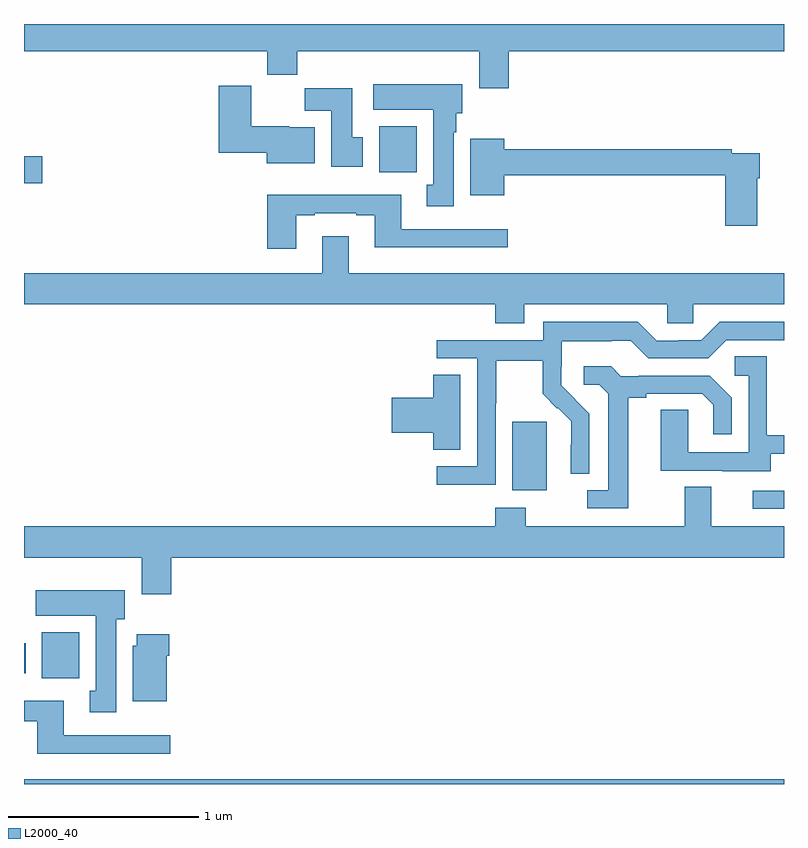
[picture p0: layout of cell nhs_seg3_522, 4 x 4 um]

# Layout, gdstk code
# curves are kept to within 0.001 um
import gdstk
lib = gdstk.Library(unit=1e-6, precision=1e-09)
def R(c, l, rs):  # rectangles x0, y0, x1, y1
    for r in rs: c.add(gdstk.rectangle(r[:2], r[2:], *l))
def P(c, l, *ps):  # polygons
    for p in ps: c.add(gdstk.Polygon(p, *l))
L2000_40 = (2000, 40)

nhs_seg3_522 = lib.new_cell('nhs_seg3_522')
R(nhs_seg3_522, L2000_40, [(137,690.4,141,690.424), (137.093,690.956,137.29,691.198), (137,690.984,137.008,691.14), (140.835,691.848,141,691.944), (139.571,691.946,139.75,692.307), (137,693.562,137.095,693.704), (138.869,693.62,139.066,693.862)])
P(nhs_seg3_522, L2000_40, [(139.55,694.256),(141,694.256),(141,694.4),(137,694.4),(137,694.256),(138.281,694.256),(138.281,694.132),(138.437,694.132),(138.437,694.256),(139.397,694.256),(139.397,694.062),(139.55,694.062)],
  [(139.261,693.83),(139.276,693.83),(139.276,693.93),(139.306,693.93),(139.306,694.084),(138.837,694.084),(138.837,693.95),(139.154,693.95),(139.154,693.554),(139.121,693.554),(139.121,693.441),(139.261,693.441)],
  [(138.529,693.856),(138.396,693.856),(138.396,693.862),(138.196,693.862),(138.196,694.075),(138.026,694.075),(138.026,693.722),(138.278,693.722),(138.278,693.668),(138.529,693.668)],
  [(138.784,693.804),(138.727,693.804),(138.727,694.063),(138.478,694.063),(138.478,693.944),(138.617,693.944),(138.617,693.648),(138.784,693.648)],
  [(140.86,693.587),(140.873,693.587),(140.873,693.72),(140.726,693.72),(140.726,693.74),(139.528,693.74),(139.528,693.796),(139.349,693.796),(139.349,693.5),(139.528,693.5),(139.528,693.604),(140.69,693.604),(140.69,693.339),(140.86,693.339)],
  [(138.433,693.393),(138.529,693.393),(138.529,693.405),(138.749,693.405),(138.749,693.393),(138.845,693.393),(138.845,693.224),(139.546,693.224),(139.546,693.321),(138.985,693.321),(138.985,693.502),(138.281,693.502),(138.281,693.216),(138.433,693.216)],
  [(139.633,692.924),(140.385,692.924),(140.385,692.826),(140.523,692.826),(140.523,692.924),(141,692.924),(141,693.088),(138.709,693.088),(138.709,693.283),(138.569,693.283),(138.569,693.088),(137,693.088),(137,692.924),(139.481,692.924),(139.481,692.825),(139.633,692.825)],
  [(139.482,692.404),(139.485,692.404),(139.485,692.628),(139.729,692.628),(139.729,692.453),(139.806,692.376),(139.809,692.379),(139.88,692.309),(139.88,692.186),(139.878,692.186),(139.878,692.032),(139.974,692.032),(139.974,692.35),(139.828,692.498),(139.828,692.595),(139.83,692.595),(139.83,692.729),(140.093,692.729),(140.093,692.733),(140.193,692.733),(140.286,692.64),(140.601,692.64),(140.697,692.736),(141,692.736),(141,692.832),(140.661,692.832),(140.565,692.736),(140.447,692.736),(140.447,692.733),(140.331,692.733),(140.231,692.833),(139.734,692.833),(139.734,692.736),(139.173,692.736),(139.173,692.64),(139.386,692.64),(139.386,692.073),(139.173,692.073),(139.173,691.975),(139.482,691.975)],
  [(140.929,692.139),(141,692.139),(141,692.235),(140.91,692.235),(140.91,692.651),(140.742,692.651),(140.742,692.55),(140.814,692.55),(140.814,692.145),(140.496,692.145),(140.496,692.369),(140.351,692.369),(140.351,692.049),(140.675,692.049),(140.675,692.045),(140.929,692.045)],
  [(140.179,692.432),(140.275,692.432),(140.275,692.454),(140.57,692.454),(140.627,692.397),(140.627,692.241),(140.724,692.241),(140.724,692.434),(140.608,692.55),(140.236,692.55),(140.236,692.547),(140.142,692.547),(140.09,692.599),(139.947,692.599),(139.947,692.502),(140.028,692.502),(140.075,692.455),(140.075,691.947),(139.965,691.947),(139.965,691.851),(140.179,691.851)],
  [(139.297,692.555),(139.154,692.555),(139.154,692.432),(138.936,692.432),(138.936,692.249),(139.154,692.249),(139.154,692.158),(139.297,692.158)],
  [(137.774,691.592),(141,691.592),(141,691.756),(140.617,691.756),(140.617,691.964),(140.477,691.964),(140.477,691.756),(139.641,691.756),(139.641,691.855),(139.481,691.855),(139.481,691.756),(137,691.756),(137,691.592),(137.621,691.592),(137.621,691.398),(137.774,691.398)],
  [(137.485,691.266),(137.53,691.266),(137.53,691.42),(137.061,691.42),(137.061,691.286),(137.378,691.286),(137.378,690.89),(137.345,690.89),(137.345,690.777),(137.485,690.777)],
  [(137.752,691.076),(137.765,691.076),(137.765,691.189),(137.594,691.189),(137.594,691.128),(137.573,691.128),(137.573,690.836),(137.752,690.836)],
  [(137.77,690.657),(137.209,690.657),(137.209,690.838),(137,690.838),(137,690.729),(137.069,690.729),(137.069,690.56),(137.77,690.56)])

lib.write_gds('nhs_seg3_522.gds')
